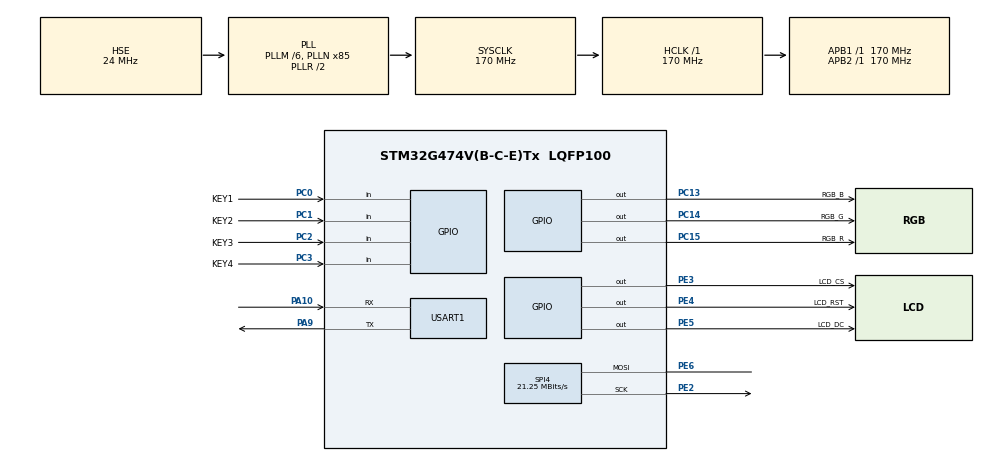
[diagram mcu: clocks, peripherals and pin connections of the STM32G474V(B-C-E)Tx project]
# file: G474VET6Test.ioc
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Dma.Request0=USART1_RX
Dma.Request1=USART1_TX
Dma.Request2=SPI4_TX
Dma.SPI4_TX.2.Direction=DMA_MEMORY_TO_PERIPH
Dma.SPI4_TX.2.EventEnable=DISABLE
Dma.SPI4_TX.2.Instance=DMA1_Channel4
Dma.SPI4_TX.2.MemDataAlignment=DMA_MDATAALIGN_BYTE
Dma.SPI4_TX.2.MemInc=DMA_MINC_ENABLE
Dma.SPI4_TX.2.Mode=DMA_NORMAL
Dma.SPI4_TX.2.PeriphDataAlignment=DMA_PDATAALIGN_BYTE
Dma.SPI4_TX.2.PeriphInc=DMA_PINC_DISABLE
Dma.SPI4_TX.2.Polarity=HAL_DMAMUX_REQ_GEN_RISING
Dma.SPI4_TX.2.Priority=DMA_PRIORITY_LOW
Dma.SPI4_TX.2.RequestNumber=1
Dma.SPI4_TX.2.SignalID=NONE
Dma.SPI4_TX.2.SyncEnable=DISABLE
Dma.SPI4_TX.2.SyncPolarity=HAL_DMAMUX_SYNC_NO_EVENT
Dma.SPI4_TX.2.SyncRequestNumber=1
Dma.SPI4_TX.2.SyncSignalID=NONE
Dma.USART1_RX.0.Direction=DMA_PERIPH_TO_MEMORY
Dma.USART1_RX.0.EventEnable=DISABLE
Dma.USART1_RX.0.Instance=DMA1_Channel1
Dma.USART1_RX.0.MemDataAlignment=DMA_MDATAALIGN_BYTE
Dma.USART1_RX.0.MemInc=DMA_MINC_ENABLE
Dma.USART1_RX.0.Mode=DMA_NORMAL
Dma.USART1_RX.0.PeriphDataAlignment=DMA_PDATAALIGN_BYTE
Dma.USART1_RX.0.PeriphInc=DMA_PINC_DISABLE
Dma.USART1_RX.0.Polarity=HAL_DMAMUX_REQ_GEN_RISING
Dma.USART1_RX.0.Priority=DMA_PRIORITY_LOW
Dma.USART1_RX.0.RequestNumber=1
Dma.USART1_RX.0.SignalID=NONE
Dma.USART1_RX.0.SyncEnable=DISABLE
Dma.USART1_RX.0.SyncPolarity=HAL_DMAMUX_SYNC_NO_EVENT
Dma.USART1_RX.0.SyncRequestNumber=1
Dma.USART1_RX.0.SyncSignalID=NONE
Dma.USART1_TX.1.Direction=DMA_MEMORY_TO_PERIPH
Dma.USART1_TX.1.EventEnable=DISABLE
Dma.USART1_TX.1.Instance=DMA1_Channel2
Dma.USART1_TX.1.MemDataAlignment=DMA_MDATAALIGN_BYTE
Dma.USART1_TX.1.MemInc=DMA_MINC_ENABLE
Dma.USART1_TX.1.Mode=DMA_NORMAL
Dma.USART1_TX.1.PeriphDataAlignment=DMA_PDATAALIGN_BYTE
Dma.USART1_TX.1.PeriphInc=DMA_PINC_DISABLE
Dma.USART1_TX.1.Polarity=HAL_DMAMUX_REQ_GEN_RISING
Dma.USART1_TX.1.Priority=DMA_PRIORITY_LOW
Dma.USART1_TX.1.RequestNumber=1
Dma.USART1_TX.1.SignalID=NONE
Dma.USART1_TX.1.SyncEnable=DISABLE
Dma.USART1_TX.1.SyncPolarity=HAL_DMAMUX_SYNC_NO_EVENT
Dma.USART1_TX.1.SyncRequestNumber=1
Dma.USART1_TX.1.SyncSignalID=NONE
Mcu.Family=STM32G4
Mcu.Name=STM32G474V(B-C-E)Tx
Mcu.Package=LQFP100
NVIC.DMA1_Channel1_IRQn=true\:0\:0\:false\:false\:true\:false\:true\:true
NVIC.DMA1_Channel2_IRQn=true\:0\:0\:false\:false\:true\:false\:true\:true
NVIC.DMA1_Channel4_IRQn=true\:0\:0\:false\:false\:true\:false\:true\:true
NVIC.PriorityGroup=NVIC_PRIORITYGROUP_4
NVIC.TIM7_DAC_IRQn=true\:0\:0\:false\:false\:true\:true\:true\:true
NVIC.USART1_IRQn=true\:0\:0\:false\:false\:true\:true\:true\:true
PA10.Mode=Asynchronous
PA10.Signal=USART1_RX
PA13.Mode=Serial_Wire
PA13.Signal=SYS_JTMS-SWDIO
PA14.Mode=Serial_Wire
PA14.Signal=SYS_JTCK-SWCLK
PA9.Mode=Asynchronous
PA9.Signal=USART1_TX
PC0.GPIO_Label=KEY1
PC0.Signal=GPIO_Input
PC1.GPIO_Label=KEY2
PC1.Signal=GPIO_Input
PC13.GPIO_Label=RGB_B
PC13.PinState=GPIO_PIN_SET
PC13.Signal=GPIO_Output
PC14-OSC32_IN.GPIO_Label=RGB_G
PC14-OSC32_IN.PinState=GPIO_PIN_SET
PC14-OSC32_IN.Signal=GPIO_Output
PC15-OSC32_OUT.GPIO_Label=RGB_R
PC15-OSC32_OUT.PinState=GPIO_PIN_SET
PC15-OSC32_OUT.Signal=GPIO_Output
PC2.GPIO_Label=KEY3
PC2.Signal=GPIO_Input
PC3.GPIO_Label=KEY4
PC3.Signal=GPIO_Input
PE2.Mode=Simplex_Bidirectional_Master
PE2.Signal=SPI4_SCK
PE3.GPIO_Label=LCD_CS
PE3.GPIO_Speed=GPIO_SPEED_FREQ_HIGH
PE3.Signal=GPIO_Output
PE4.GPIO_Label=LCD_RST
PE4.GPIO_Speed=GPIO_SPEED_FREQ_HIGH
PE4.PinState=GPIO_PIN_RESET
PE4.Signal=GPIO_Output
PE5.GPIO_Label=LCD_DC
PE5.GPIO_Speed=GPIO_SPEED_FREQ_HIGH
PE5.PinState=GPIO_PIN_RESET
PE5.Signal=GPIO_Output
PE6.Mode=Simplex_Bidirectional_Master
PE6.Signal=SPI4_MOSI
PF0-OSC_IN.Mode=HSE-External-Oscillator
PF0-OSC_IN.Signal=RCC_OSC_IN
PF1-OSC_OUT.Mode=HSE-External-Oscillator
PF1-OSC_OUT.Signal=RCC_OSC_OUT
ProjectManager.HeapSize=0x200
ProjectManager.StackSize=0x1000
ProjectManager.TargetToolchain=MDK-ARM V5.32
RCC.ADC12Freq_Value=170000000
RCC.ADC345Freq_Value=170000000
RCC.AHBFreq_Value=170000000
RCC.APB1Freq_Value=170000000
RCC.APB1TimFreq_Value=170000000
RCC.APB2Freq_Value=170000000
RCC.APB2TimFreq_Value=170000000
RCC.CK48CLockSelection=RCC_USBCLKSOURCE_HSI48
RCC.CortexFreq_Value=170000000
RCC.EXTERNAL_CLOCK_VALUE=12288000
RCC.HCLKFreq_Value=170000000
RCC.HSE_VALUE=24000000
RCC.HSI48_VALUE=48000000
RCC.HSI_VALUE=16000000
RCC.LSE_VALUE=32768
RCC.PLLM=RCC_PLLM_DIV6
RCC.PLLN=85
RCC.PLLSourceVirtual=RCC_PLLSOURCE_HSE
RCC.SYSCLKFreq_VALUE=170000000
RCC.SYSCLKSource=RCC_SYSCLKSOURCE_PLLCLK
RCC.USBFreq_Value=48000000
RCC.VCOOutputFreq_Value=340000000
SPI4.BaudRatePrescaler=SPI_BAUDRATEPRESCALER_8
SPI4.CLKPolarity=SPI_POLARITY_HIGH
SPI4.CalculateBaudRate=21.25 MBits/s
SPI4.DataSize=SPI_DATASIZE_8BIT
SPI4.Direction=SPI_DIRECTION_1LINE
SPI4.Mode=SPI_MODE_MASTER
SPI4.VirtualType=VM_MASTER
TIM7.PeriodNoDither=10000-1
TIM7.Prescaler=168-1
USART1.VirtualMode-Asynchronous=VM_ASYNC
VP_SYS_VS_DBSignals.Mode=DisableDeadBatterySignals
VP_SYS_V_VREFBUF.Mode=ExternalMode
VP_TIM7_VS_ClockSourceINT.Mode=Enable_Timer
board=custom

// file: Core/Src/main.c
/* USER CODE BEGIN Header */
/**
  ******************************************************************************
  * @file           : main.c
  * @brief          : Main program body
  ******************************************************************************
  * @attention
  *
  * Copyright (c) 2024 STMicroelectronics.
  * All rights reserved.
  *
  * This software is licensed under terms that can be found in the LICENSE file
  * in the root directory of this software component.
  * If no LICENSE file comes with this software, it is provided AS-IS.
  *
  ******************************************************************************
  */
/* USER CODE END Header */
#include "main.h"
#include "dma.h"
#include "spi.h"
#include "tim.h"
#include "usart.h"
#include "gpio.h"

void SystemClock_Config(void);

/* USER CODE BEGIN 0 */
#include "myuart.h"
#include "lcd.h"
#include "key.h"
Uart_It uart1={
	.huart=&huart1
};
/* USER CODE END 0 */

int main(void)
{

  /* MCU Configuration--------------------------------------------------------*/

  /* Reset of all peripherals, Initializes the Flash interface and the Systick. */
  HAL_Init();

  /* Configure the system clock */
  SystemClock_Config();

  /* Initialize all configured peripherals */
  MX_GPIO_Init();
  MX_DMA_Init();
  MX_USART1_UART_Init();
  MX_TIM7_Init();
  MX_SPI4_Init();
  /* USER CODE BEGIN 2 */
  LCD_Init();
  LCD_Fill(0,0,LCD_W,LCD_H,GREEN);		HAL_Delay(200);
  LCD_Fill(0,0,LCD_W,LCD_H,YELLOW);		HAL_Delay(200);
  LCD_Fill(0,0,LCD_W,LCD_H,BLACK);		HAL_Delay(200);
  LCD_Fill(0,0,LCD_W,LCD_H,BLUE);		HAL_Delay(200);
  LCD_Fill(0,0,LCD_W,LCD_H,GRAYBLUE);	HAL_Delay(200);
  LCD_Fill(0,0,LCD_W,LCD_H,LGRAYBLUE);	HAL_Delay(200);
  LCD_ShowString(20, 40,(uint8_t*)"MisakaLove", BLUE, BLACK,32,0);

  HAL_TIM_Base_Start_IT(&htim7);
	Uart_Send_DMA(&uart1,"system start\n");
  /* USER CODE END 2 */

  /* Infinite loop */
  /* USER CODE BEGIN WHILE */
  while (1)
  {
	HAL_GPIO_TogglePin(RGB_B_GPIO_Port,RGB_B_Pin);
	HAL_Delay(499);

    /* USER CODE END WHILE */

  }
}

void SystemClock_Config(void)
{
  RCC_OscInitTypeDef RCC_OscInitStruct = {0};
  RCC_ClkInitTypeDef RCC_ClkInitStruct = {0};

  /** Configure the main internal regulator output voltage
  */
  HAL_PWREx_ControlVoltageScaling(PWR_REGULATOR_VOLTAGE_SCALE1_BOOST);

  /** Initializes the RCC Oscillators according to the specified parameters
  * in the RCC_OscInitTypeDef structure.
  */
  RCC_OscInitStruct.OscillatorType = RCC_OSCILLATORTYPE_HSE;
  RCC_OscInitStruct.HSEState = RCC_HSE_ON;
  RCC_OscInitStruct.PLL.PLLState = RCC_PLL_ON;
  RCC_OscInitStruct.PLL.PLLSource = RCC_PLLSOURCE_HSE;
  RCC_OscInitStruct.PLL.PLLM = RCC_PLLM_DIV6;
  RCC_OscInitStruct.PLL.PLLN = 85;
  RCC_OscInitStruct.PLL.PLLP = RCC_PLLP_DIV2;
  RCC_OscInitStruct.PLL.PLLQ = RCC_PLLQ_DIV2;
  RCC_OscInitStruct.PLL.PLLR = RCC_PLLR_DIV2;
  if (HAL_RCC_OscConfig(&RCC_OscInitStruct) != HAL_OK)
  {
    Error_Handler();
  }

  /** Initializes the CPU, AHB and APB buses clocks
  */
  RCC_ClkInitStruct.ClockType = RCC_CLOCKTYPE_HCLK|RCC_CLOCKTYPE_SYSCLK
                              |RCC_CLOCKTYPE_PCLK1|RCC_CLOCKTYPE_PCLK2;
  RCC_ClkInitStruct.SYSCLKSource = RCC_SYSCLKSOURCE_PLLCLK;
  RCC_ClkInitStruct.AHBCLKDivider = RCC_SYSCLK_DIV1;
  RCC_ClkInitStruct.APB1CLKDivider = RCC_HCLK_DIV1;
  RCC_ClkInitStruct.APB2CLKDivider = RCC_HCLK_DIV1;

  if (HAL_RCC_ClockConfig(&RCC_ClkInitStruct, FLASH_LATENCY_4) != HAL_OK)
  {
    Error_Handler();
  }
}

/* USER CODE BEGIN 4 */
void Key_Process(){
  bool LongKeyMode;
  uint8_t KeyNumber=Key_Read(&LongKeyMode);
  switch(KeyNumber){
    case 0:
      break;
    case 1:
      if(LongKeyMode==false){
        Uart_Send_DMA(&uart1,"KEY1 short\n");
      }
      else{
        Uart_Send_DMA(&uart1,"KEY1 long\n");
      }
      break;
    case 2:
      if(LongKeyMode==false){
        Uart_Send_DMA(&uart1,"KEY2 short\n");
      }
      else{
        Uart_Send_DMA(&uart1,"KEY2 long\n");
      }
      break;
    case 3:
      if(LongKeyMode==false){
        Uart_Send_DMA(&uart1,"KEY3 short\n");
      }
      else{
        Uart_Send_DMA(&uart1,"KEY3 long\n");
      }
      break;
    case 4:
      if(LongKeyMode==false){
        Uart_Send_DMA(&uart1,"KEY4 short\n");
      }
      else{
        Uart_Send_DMA(&uart1,"KEY4 long\n");
      }
      break;
  }
}
/* USER CODE END 4 */

void Error_Handler(void)
{
  __disable_irq();
  while (1)
  {
  }
}
